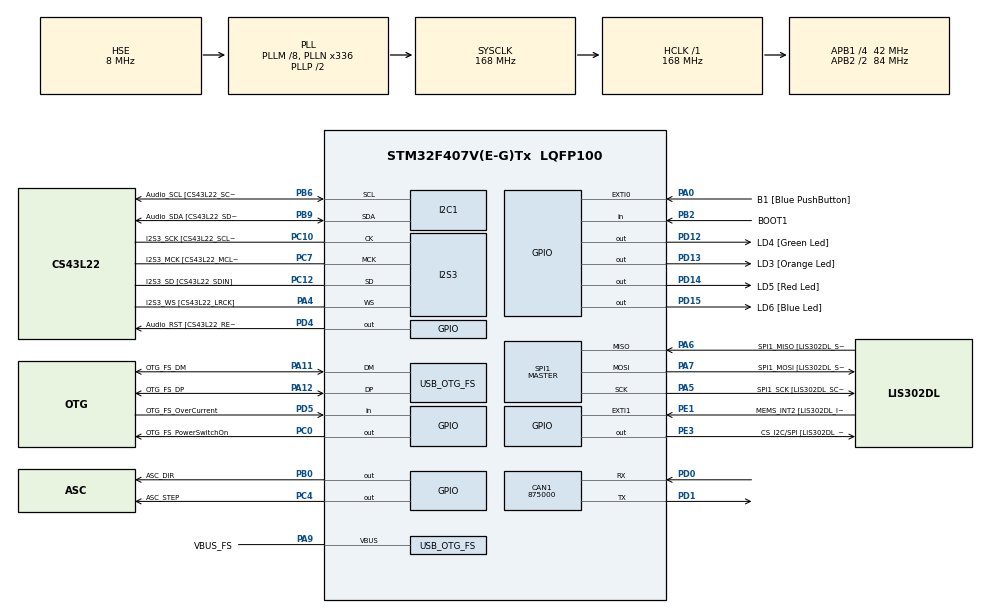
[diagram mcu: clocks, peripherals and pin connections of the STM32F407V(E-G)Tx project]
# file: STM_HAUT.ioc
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CAN1.CalculateBaudRate=875000
CAN1.CalculateTimeBit=1142
CAN1.CalculateTimeQuantum=380.95238095238096
I2S3.AudioFreq-Half_Duplex_Master=I2S_AUDIOFREQ_96K
I2S3.ErrorAudioFreq=-2.34 %
I2S3.ErrorAudioFreq-Half_Duplex_Master=0.8 %
I2S3.FullDuplexMode=I2S_FULLDUPLEXMODE_DISABLE
I2S3.Instance=SPI$Index
I2S3.RealAudioFreq=93.75 KHz
I2S3.RealAudioFreq-Half_Duplex_Master=96.774 KHz
I2S3.VirtualMode=I2S_MODE_MASTER
Mcu.Family=STM32F4
Mcu.Name=STM32F407V(E-G)Tx
Mcu.Package=LQFP100
NVIC.OTG_FS_IRQn=true\:0\:0\:false\:false\:true\:true\:true\:true
NVIC.PriorityGroup=NVIC_PRIORITYGROUP_0
PA0-WKUP.GPIO_Label=B1 [Blue PushButton]
PA0-WKUP.GPIO_ModeDefaultEXTI=GPIO_MODE_EVT_RISING
PA0-WKUP.GPIO_PuPd=GPIO_NOPULL
PA0-WKUP.Signal=GPXTI0
PA10.GPIO_Label=OTG_FS_ID
PA10.GPIO_Mode=GPIO_MODE_AF_PP
PA10.GPIO_PuPd=GPIO_NOPULL
PA10.GPIO_Speed=GPIO_SPEED_FREQ_LOW
PA10.Signal=USB_OTG_FS_ID
PA11.GPIO_Label=OTG_FS_DM
PA11.GPIO_Mode=GPIO_MODE_AF_PP
PA11.GPIO_PuPd=GPIO_NOPULL
PA11.GPIO_Speed=GPIO_SPEED_FREQ_LOW
PA11.Mode=Host_Only
PA11.Signal=USB_OTG_FS_DM
PA12.GPIO_Label=OTG_FS_DP
PA12.GPIO_Mode=GPIO_MODE_AF_PP
PA12.GPIO_PuPd=GPIO_NOPULL
PA12.GPIO_Speed=GPIO_SPEED_FREQ_LOW
PA12.Mode=Host_Only
PA12.Signal=USB_OTG_FS_DP
PA13.GPIO_Label=SWDIO
PA13.Mode=Serial_Wire
PA13.Signal=SYS_JTMS-SWDIO
PA14.GPIO_Label=SWCLK
PA14.Mode=Serial_Wire
PA14.Signal=SYS_JTCK-SWCLK
PA4.GPIO_Label=I2S3_WS [CS43L22_LRCK]
PA4.GPIO_Mode=GPIO_MODE_AF_PP
PA4.GPIO_PuPd=GPIO_NOPULL
PA4.GPIO_Speed=GPIO_SPEED_FREQ_LOW
PA4.Mode=Half_Duplex_Master
PA4.Signal=I2S3_WS
PA5.GPIO_Label=SPI1_SCK [LIS302DL_SCL/SPC]
PA5.GPIO_Mode=GPIO_MODE_AF_PP
PA5.GPIO_PuPd=GPIO_NOPULL
PA5.GPIO_Speed=GPIO_SPEED_FREQ_LOW
PA5.Mode=Full_Duplex_Master
PA5.Signal=SPI1_SCK
PA6.GPIO_Label=SPI1_MISO [LIS302DL_SDO]
PA6.GPIO_Mode=GPIO_MODE_AF_PP
PA6.GPIO_PuPd=GPIO_NOPULL
PA6.GPIO_Speed=GPIO_SPEED_FREQ_LOW
PA6.Mode=Full_Duplex_Master
PA6.Signal=SPI1_MISO
PA7.GPIO_Label=SPI1_MOSI [LIS302DL_SDA/SDI/SDO]
PA7.GPIO_Mode=GPIO_MODE_AF_PP
PA7.GPIO_PuPd=GPIO_NOPULL
PA7.GPIO_Speed=GPIO_SPEED_FREQ_LOW
PA7.Mode=Full_Duplex_Master
PA7.Signal=SPI1_MOSI
PA9.GPIO_Label=VBUS_FS
PA9.GPIO_Mode=GPIO_MODE_INPUT
PA9.GPIO_PuPd=GPIO_NOPULL
PA9.Mode=Activate_VBUS
PA9.Signal=USB_OTG_FS_VBUS
PB0.GPIO_Label=ASC_DIR
PB0.Signal=GPIO_Output
PB10.GPIO_Label=CLK_IN [MP45DT02_CLK]
PB10.GPIO_Mode=GPIO_MODE_AF_PP
PB10.GPIO_PuPd=GPIO_NOPULL
PB10.GPIO_Speed=GPIO_SPEED_FREQ_LOW
PB10.Signal=I2S2_CK
PB2.GPIO_Label=BOOT1
PB2.GPIO_Mode=GPIO_MODE_INPUT
PB2.GPIO_PuPd=GPIO_NOPULL
PB2.Signal=GPIO_Input
PB3.GPIO_Label=SWO
PB3.Signal=SYS_JTDO-SWO
PB6.GPIO_Label=Audio_SCL [CS43L22_SCL]
PB6.GPIO_Mode=GPIO_MODE_AF_OD
PB6.GPIO_Pu=GPIO_PULLUP
PB6.GPIO_PuPd=GPIO_NOPULL
PB6.GPIO_Speed=GPIO_SPEED_FREQ_LOW
PB6.Mode=I2C
PB6.Signal=I2C1_SCL
PB9.GPIO_Label=Audio_SDA [CS43L22_SDA]
PB9.GPIO_Mode=GPIO_MODE_AF_OD
PB9.GPIO_Pu=GPIO_PULLUP
PB9.GPIO_PuPd=GPIO_NOPULL
PB9.GPIO_Speed=GPIO_SPEED_FREQ_LOW
PB9.Mode=I2C
PB9.Signal=I2C1_SDA
PC0.GPIO_Label=OTG_FS_PowerSwitchOn
PC0.GPIO_PuPd=GPIO_NOPULL
PC0.GPIO_Speed=GPIO_SPEED_FREQ_LOW
PC0.PinState=GPIO_PIN_SET
PC0.Signal=GPIO_Output
PC10.GPIO_Label=I2S3_SCK [CS43L22_SCLK]
PC10.GPIO_Mode=GPIO_MODE_AF_PP
PC10.GPIO_PuPd=GPIO_NOPULL
PC10.GPIO_Speed=GPIO_SPEED_FREQ_LOW
PC10.Mode=Half_Duplex_Master
PC10.Signal=I2S3_CK
PC12.GPIO_Label=I2S3_SD [CS43L22_SDIN]
PC12.GPIO_Mode=GPIO_MODE_AF_PP
PC12.GPIO_PuPd=GPIO_NOPULL
PC12.GPIO_Speed=GPIO_SPEED_FREQ_LOW
PC12.Mode=Half_Duplex_Master
PC12.Signal=I2S3_SD
PC14-OSC32_IN.GPIO_Label=PC14-OSC32_IN
PC14-OSC32_IN.Mode=LSE-External-Oscillator
PC14-OSC32_IN.Signal=RCC_OSC32_IN
PC15-OSC32_OUT.GPIO_Label=PC15-OSC32_OUT
PC15-OSC32_OUT.Mode=LSE-External-Oscillator
PC15-OSC32_OUT.Signal=RCC_OSC32_OUT
PC3.GPIO_Label=PDM_OUT [MP45DT02_DOUT]
PC3.GPIO_Mode=GPIO_MODE_AF_PP
PC3.GPIO_PuPd=GPIO_NOPULL
PC3.GPIO_Speed=GPIO_SPEED_FREQ_LOW
PC3.Signal=I2S2_SD
PC4.GPIO_Label=ASC_STEP
PC4.Signal=GPIO_Output
PC7.GPIO_Label=I2S3_MCK [CS43L22_MCLK]
PC7.GPIO_Mode=GPIO_MODE_AF_PP
PC7.GPIO_PuPd=GPIO_NOPULL
PC7.GPIO_Speed=GPIO_SPEED_FREQ_LOW
PC7.Mode=Master_Clock_Activated
PC7.Signal=I2S3_MCK
PD0.Mode=CAN_Activate
PD0.Signal=CAN1_RX
PD1.Mode=CAN_Activate
PD1.Signal=CAN1_TX
PD12.GPIO_Label=LD4 [Green Led]
PD12.GPIO_PuPd=GPIO_NOPULL
PD12.GPIO_Speed=GPIO_SPEED_FREQ_LOW
PD12.Signal=GPIO_Output
PD13.GPIO_Label=LD3 [Orange Led]
PD13.GPIO_PuPd=GPIO_NOPULL
PD13.GPIO_Speed=GPIO_SPEED_FREQ_LOW
PD13.Signal=GPIO_Output
PD14.GPIO_Label=LD5 [Red Led]
PD14.GPIO_PuPd=GPIO_NOPULL
PD14.GPIO_Speed=GPIO_SPEED_FREQ_LOW
PD14.Signal=GPIO_Output
PD15.GPIO_Label=LD6 [Blue Led]
PD15.GPIO_PuPd=GPIO_NOPULL
PD15.GPIO_Speed=GPIO_SPEED_FREQ_LOW
PD15.Signal=GPIO_Output
PD4.GPIO_Label=Audio_RST [CS43L22_RESET]
PD4.GPIO_PuPd=GPIO_NOPULL
PD4.GPIO_Speed=GPIO_SPEED_FREQ_LOW
PD4.Signal=GPIO_Output
PD5.GPIO_Label=OTG_FS_OverCurrent
PD5.GPIO_Mode=GPIO_MODE_INPUT
PD5.GPIO_PuPd=GPIO_NOPULL
PD5.Signal=GPIO_Input
PE1.GPIO_Label=MEMS_INT2 [LIS302DL_INT2]
PE1.GPIO_ModeDefaultEXTI=GPIO_MODE_EVT_RISING
PE1.GPIO_PuPd=GPIO_NOPULL
PE1.Signal=GPXTI1
PE3.GPIO_Label=CS_I2C/SPI [LIS302DL_CS_I2C/SPI]
PE3.GPIO_PuPd=GPIO_NOPULL
PE3.GPIO_Speed=GPIO_SPEED_FREQ_LOW
PE3.Signal=GPIO_Output
PH0-OSC_IN.GPIO_Label=PH0-OSC_IN
PH0-OSC_IN.Mode=HSE-External-Oscillator
PH0-OSC_IN.Signal=RCC_OSC_IN
PH1-OSC_OUT.GPIO_Label=PH1-OSC_OUT
PH1-OSC_OUT.Mode=HSE-External-Oscillator
PH1-OSC_OUT.Signal=RCC_OSC_OUT
ProjectManager.HeapSize=0x200
ProjectManager.StackSize=0x400
ProjectManager.TargetToolchain=STM32CubeIDE
RCC.48MHZClocksFreq_Value=48000000
RCC.AHBFreq_Value=168000000
RCC.APB1CLKDivider=RCC_HCLK_DIV4
RCC.APB1Freq_Value=42000000
RCC.APB1TimFreq_Value=84000000
RCC.APB2CLKDivider=RCC_HCLK_DIV2
RCC.APB2Freq_Value=84000000
RCC.APB2TimFreq_Value=168000000
RCC.CortexFreq_Value=168000000
RCC.HCLKFreq_Value=168000000
RCC.HSE_VALUE=8000000
RCC.HSI_VALUE=16000000
RCC.PLLM=8
RCC.PLLN=336
RCC.PLLQ=7
RCC.SYSCLKFreq_VALUE=168000000
RCC.SYSCLKSource=RCC_SYSCLKSOURCE_PLLCLK
RCC.VCOOutputFreq_Value=336000000
SPI1.BaudRatePrescaler-Full_Duplex_Master=SPI_BAUDRATEPRESCALER_2
SPI1.CalculateBaudRate-Full_Duplex_Master=42.0 MBits/s
SPI1.Direction=SPI_DIRECTION_2LINES
SPI1.Mode=SPI_MODE_MASTER
SPI1.Mode-Full_Duplex_Master=SPI_MODE_MASTER
SPI1.VirtualType=VM_MASTER
USB_HOST.BSP.number=1
USB_HOST.USBH_HandleTypeDef-CDC_FS=hUsbHostFS
USB_HOST.VirtualModeFS=Cdc
USB_HOST0.BSP.STBoard=false
USB_HOST0.BSP.api=Unknown
USB_HOST0.BSP.instance=PC0
USB_HOST0.BSP.ip=GPIO
USB_HOST0.BSP.mode=Output
USB_HOST0.BSP.name=Drive_VBUS_FS
USB_HOST0.BSP.solution=PC0
USB_OTG_FS.VirtualMode=Host_Only
USB_OTG_FS.phy_itface=HCD_PHY_EMBEDDED
VP_USB_HOST_VS_USB_HOST_CDC_FS.Mode=CDC_FS
board=STM32F407G-DISC1

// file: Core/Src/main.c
/* USER CODE BEGIN Header */
/**
  ******************************************************************************
  * @file           : main.c
  * @brief          : Main program body
  ******************************************************************************
  * @attention
  *
  * Copyright (c) 2026 STMicroelectronics.
  * All rights reserved.
  *
  * This software is licensed under terms that can be found in the LICENSE file
  * in the root directory of this software component.
  * If no LICENSE file comes with this software, it is provided AS-IS.
  *
  ******************************************************************************
  */
/* USER CODE END Header */
#include "main.h"
#include "usb_host.h"
#include "Moteur_Step.h"
#include "Module_ROT.h"
#include "Types_Communs.h"

CAN_HandleTypeDef hcan1;

I2C_HandleTypeDef hi2c1;

I2S_HandleTypeDef hi2s3;

SPI_HandleTypeDef hspi1;

void SystemClock_Config(void);
static void MX_GPIO_Init(void);
static void MX_I2C1_Init(void);
static void MX_I2S3_Init(void);
static void MX_SPI1_Init(void);
static void MX_CAN1_Init(void);
void MX_USB_HOST_Process(void);

int main(void)
{

  /* MCU Configuration--------------------------------------------------------*/

  /* Reset of all peripherals, Initializes the Flash interface and the Systick. */
  HAL_Init();

  /* Configure the system clock */
  SystemClock_Config();

  /* Initialize all configured peripherals */
  MX_GPIO_Init();
  MX_I2C1_Init();
  MX_I2S3_Init();
  MX_SPI1_Init();
  MX_USB_HOST_Init();
  MX_CAN1_Init();
  /* USER CODE BEGIN 2 */
  uint32_t button_timer = 0;

  GPIO_PinState button_state = GPIO_PIN_RESET;
  GPIO_PinState button_last_read = GPIO_PIN_RESET;
  uint8_t PositionActuelle = 0;
  int test_bouton = 0;
  /* USER CODE END 2 */

  /* Infinite loop */
  /* USER CODE BEGIN WHILE */
  while (1)
  {
	  // Update stepper motors
	      Stepper_Update();

	      // Read PA0
	      GPIO_PinState button_read =
	          HAL_GPIO_ReadPin(GPIOA, GPIO_PIN_0);

	      // Detect a change in button state
	      if(button_read != button_last_read)
	      {
	          button_timer = HAL_GetTick();
	          button_last_read = button_read;
	      }

	      // Debounce (50 ms)
	      if((HAL_GetTick() - button_timer) >= 50)
	      {
	          if(button_read != button_state)
	          {
	              button_state = button_read;

	              // Button pressed
	              if(button_state == GPIO_PIN_SET)
	              {
	            	  if (!Stepper_IsBusy(Moteur_ROT))
	            	  {
	            	      if (PositionActuelle == 0)
	            	      {
	            	          Rotation_DeplacerVers(2, &PositionActuelle);
	            	      }
	            	      else
	            	      {
	            	          Rotation_DeplacerVers(0, &PositionActuelle);
	            	      }
	            	  }
	              }
	          }
	      }
    /* USER CODE END WHILE */
    MX_USB_HOST_Process();

  }
}

void SystemClock_Config(void)
{
  RCC_OscInitTypeDef RCC_OscInitStruct = {0};
  RCC_ClkInitTypeDef RCC_ClkInitStruct = {0};

  /** Configure the main internal regulator output voltage
  */
  __HAL_RCC_PWR_CLK_ENABLE();
  __HAL_PWR_VOLTAGESCALING_CONFIG(PWR_REGULATOR_VOLTAGE_SCALE1);

  /** Initializes the RCC Oscillators according to the specified parameters
  * in the RCC_OscInitTypeDef structure.
  */
  RCC_OscInitStruct.OscillatorType = RCC_OSCILLATORTYPE_HSE;
  RCC_OscInitStruct.HSEState = RCC_HSE_ON;
  RCC_OscInitStruct.PLL.PLLState = RCC_PLL_ON;
  RCC_OscInitStruct.PLL.PLLSource = RCC_PLLSOURCE_HSE;
  RCC_OscInitStruct.PLL.PLLM = 8;
  RCC_OscInitStruct.PLL.PLLN = 336;
  RCC_OscInitStruct.PLL.PLLP = RCC_PLLP_DIV2;
  RCC_OscInitStruct.PLL.PLLQ = 7;
  if (HAL_RCC_OscConfig(&RCC_OscInitStruct) != HAL_OK)
  {
    Error_Handler();
  }

  /** Initializes the CPU, AHB and APB buses clocks
  */
  RCC_ClkInitStruct.ClockType = RCC_CLOCKTYPE_HCLK|RCC_CLOCKTYPE_SYSCLK
                              |RCC_CLOCKTYPE_PCLK1|RCC_CLOCKTYPE_PCLK2;
  RCC_ClkInitStruct.SYSCLKSource = RCC_SYSCLKSOURCE_PLLCLK;
  RCC_ClkInitStruct.AHBCLKDivider = RCC_SYSCLK_DIV1;
  RCC_ClkInitStruct.APB1CLKDivider = RCC_HCLK_DIV4;
  RCC_ClkInitStruct.APB2CLKDivider = RCC_HCLK_DIV2;

  if (HAL_RCC_ClockConfig(&RCC_ClkInitStruct, FLASH_LATENCY_5) != HAL_OK)
  {
    Error_Handler();
  }
}

static void MX_CAN1_Init(void)
{

  hcan1.Instance = CAN1;
  hcan1.Init.Prescaler = 16;
  hcan1.Init.Mode = CAN_MODE_NORMAL;
  hcan1.Init.SyncJumpWidth = CAN_SJW_1TQ;
  hcan1.Init.TimeSeg1 = CAN_BS1_1TQ;
  hcan1.Init.TimeSeg2 = CAN_BS2_1TQ;
  hcan1.Init.TimeTriggeredMode = DISABLE;
  hcan1.Init.AutoBusOff = DISABLE;
  hcan1.Init.AutoWakeUp = DISABLE;
  hcan1.Init.AutoRetransmission = DISABLE;
  hcan1.Init.ReceiveFifoLocked = DISABLE;
  hcan1.Init.TransmitFifoPriority = DISABLE;
  if (HAL_CAN_Init(&hcan1) != HAL_OK)
  {
    Error_Handler();
  }

}

static void MX_I2C1_Init(void)
{

  hi2c1.Instance = I2C1;
  hi2c1.Init.ClockSpeed = 100000;
  hi2c1.Init.DutyCycle = I2C_DUTYCYCLE_2;
  hi2c1.Init.OwnAddress1 = 0;
  hi2c1.Init.AddressingMode = I2C_ADDRESSINGMODE_7BIT;
  hi2c1.Init.DualAddressMode = I2C_DUALADDRESS_DISABLE;
  hi2c1.Init.OwnAddress2 = 0;
  hi2c1.Init.GeneralCallMode = I2C_GENERALCALL_DISABLE;
  hi2c1.Init.NoStretchMode = I2C_NOSTRETCH_DISABLE;
  if (HAL_I2C_Init(&hi2c1) != HAL_OK)
  {
    Error_Handler();
  }

}

static void MX_I2S3_Init(void)
{

  hi2s3.Instance = SPI3;
  hi2s3.Init.Mode = I2S_MODE_MASTER_TX;
  hi2s3.Init.Standard = I2S_STANDARD_PHILIPS;
  hi2s3.Init.DataFormat = I2S_DATAFORMAT_16B;
  hi2s3.Init.MCLKOutput = I2S_MCLKOUTPUT_ENABLE;
  hi2s3.Init.AudioFreq = I2S_AUDIOFREQ_96K;
  hi2s3.Init.CPOL = I2S_CPOL_LOW;
  hi2s3.Init.ClockSource = I2S_CLOCK_PLL;
  hi2s3.Init.FullDuplexMode = I2S_FULLDUPLEXMODE_DISABLE;
  if (HAL_I2S_Init(&hi2s3) != HAL_OK)
  {
    Error_Handler();
  }

}

static void MX_SPI1_Init(void)
{

  /* SPI1 parameter configuration*/
  hspi1.Instance = SPI1;
  hspi1.Init.Mode = SPI_MODE_MASTER;
  hspi1.Init.Direction = SPI_DIRECTION_2LINES;
  hspi1.Init.DataSize = SPI_DATASIZE_8BIT;
  hspi1.Init.CLKPolarity = SPI_POLARITY_LOW;
  hspi1.Init.CLKPhase = SPI_PHASE_1EDGE;
  hspi1.Init.NSS = SPI_NSS_SOFT;
  hspi1.Init.BaudRatePrescaler = SPI_BAUDRATEPRESCALER_2;
  hspi1.Init.FirstBit = SPI_FIRSTBIT_MSB;
  hspi1.Init.TIMode = SPI_TIMODE_DISABLE;
  hspi1.Init.CRCCalculation = SPI_CRCCALCULATION_DISABLE;
  hspi1.Init.CRCPolynomial = 10;
  if (HAL_SPI_Init(&hspi1) != HAL_OK)
  {
    Error_Handler();
  }

}

static void MX_GPIO_Init(void)
{
  GPIO_InitTypeDef GPIO_InitStruct = {0};

  /* GPIO Ports Clock Enable */
  __HAL_RCC_GPIOE_CLK_ENABLE();
  __HAL_RCC_GPIOC_CLK_ENABLE();
  __HAL_RCC_GPIOH_CLK_ENABLE();
  __HAL_RCC_GPIOA_CLK_ENABLE();
  __HAL_RCC_GPIOB_CLK_ENABLE();
  __HAL_RCC_GPIOD_CLK_ENABLE();

  /*Configure GPIO pin Output Level */
  HAL_GPIO_WritePin(CS_I2C_SPI_GPIO_Port, CS_I2C_SPI_Pin, GPIO_PIN_RESET);

  /*Configure GPIO pin Output Level */
  HAL_GPIO_WritePin(OTG_FS_PowerSwitchOn_GPIO_Port, OTG_FS_PowerSwitchOn_Pin, GPIO_PIN_SET);

  /*Configure GPIO pin Output Level */
  HAL_GPIO_WritePin(ASC_STEP_GPIO_Port, ASC_STEP_Pin, GPIO_PIN_RESET);

  /*Configure GPIO pin Output Level */
  HAL_GPIO_WritePin(ASC_DIR_GPIO_Port, ASC_DIR_Pin, GPIO_PIN_RESET);

  /*Configure GPIO pin Output Level */
  HAL_GPIO_WritePin(GPIOD, LD4_Pin|LD3_Pin|LD5_Pin|LD6_Pin
                          |Audio_RST_Pin, GPIO_PIN_RESET);

  /*Configure GPIO pin : CS_I2C_SPI_Pin */
  GPIO_InitStruct.Pin = CS_I2C_SPI_Pin;
  GPIO_InitStruct.Mode = GPIO_MODE_OUTPUT_PP;
  GPIO_InitStruct.Pull = GPIO_NOPULL;
  GPIO_InitStruct.Speed = GPIO_SPEED_FREQ_LOW;
  HAL_GPIO_Init(CS_I2C_SPI_GPIO_Port, &GPIO_InitStruct);

  /*Configure GPIO pins : OTG_FS_PowerSwitchOn_Pin ASC_STEP_Pin */
  GPIO_InitStruct.Pin = OTG_FS_PowerSwitchOn_Pin|ASC_STEP_Pin;
  GPIO_InitStruct.Mode = GPIO_MODE_OUTPUT_PP;
  GPIO_InitStruct.Pull = GPIO_NOPULL;
  GPIO_InitStruct.Speed = GPIO_SPEED_FREQ_LOW;
  HAL_GPIO_Init(GPIOC, &GPIO_InitStruct);

  /*Configure GPIO pin : PDM_OUT_Pin */
  GPIO_InitStruct.Pin = PDM_OUT_Pin;
  GPIO_InitStruct.Mode = GPIO_MODE_AF_PP;
  GPIO_InitStruct.Pull = GPIO_NOPULL;
  GPIO_InitStruct.Speed = GPIO_SPEED_FREQ_LOW;
  GPIO_InitStruct.Alternate = GPIO_AF5_SPI2;
  HAL_GPIO_Init(PDM_OUT_GPIO_Port, &GPIO_InitStruct);

  /*Configure GPIO pin : B1_Pin */
  GPIO_InitStruct.Pin = B1_Pin;
  GPIO_InitStruct.Mode = GPIO_MODE_EVT_RISING;
  GPIO_InitStruct.Pull = GPIO_NOPULL;
  HAL_GPIO_Init(B1_GPIO_Port, &GPIO_InitStruct);

  /*Configure GPIO pin : ASC_DIR_Pin */
  GPIO_InitStruct.Pin = ASC_DIR_Pin;
  GPIO_InitStruct.Mode = GPIO_MODE_OUTPUT_PP;
  GPIO_InitStruct.Pull = GPIO_NOPULL;
  GPIO_InitStruct.Speed = GPIO_SPEED_FREQ_LOW;
  HAL_GPIO_Init(ASC_DIR_GPIO_Port, &GPIO_InitStruct);

  /*Configure GPIO pin : BOOT1_Pin */
  GPIO_InitStruct.Pin = BOOT1_Pin;
  GPIO_InitStruct.Mode = GPIO_MODE_INPUT;
  GPIO_InitStruct.Pull = GPIO_NOPULL;
  HAL_GPIO_Init(BOOT1_GPIO_Port, &GPIO_InitStruct);

  /*Configure GPIO pin : CLK_IN_Pin */
  GPIO_InitStruct.Pin = CLK_IN_Pin;
  GPIO_InitStruct.Mode = GPIO_MODE_AF_PP;
  GPIO_InitStruct.Pull = GPIO_NOPULL;
  GPIO_InitStruct.Speed = GPIO_SPEED_FREQ_LOW;
  GPIO_InitStruct.Alternate = GPIO_AF5_SPI2;
  HAL_GPIO_Init(CLK_IN_GPIO_Port, &GPIO_InitStruct);

  /*Configure GPIO pins : LD4_Pin LD3_Pin LD5_Pin LD6_Pin
                           Audio_RST_Pin */
  GPIO_InitStruct.Pin = LD4_Pin|LD3_Pin|LD5_Pin|LD6_Pin
                          |Audio_RST_Pin;
  GPIO_InitStruct.Mode = GPIO_MODE_OUTPUT_PP;
  GPIO_InitStruct.Pull = GPIO_NOPULL;
  GPIO_InitStruct.Speed = GPIO_SPEED_FREQ_LOW;
  HAL_GPIO_Init(GPIOD, &GPIO_InitStruct);

  /*Configure GPIO pin : OTG_FS_OverCurrent_Pin */
  GPIO_InitStruct.Pin = OTG_FS_OverCurrent_Pin;
  GPIO_InitStruct.Mode = GPIO_MODE_INPUT;
  GPIO_InitStruct.Pull = GPIO_NOPULL;
  HAL_GPIO_Init(OTG_FS_OverCurrent_GPIO_Port, &GPIO_InitStruct);

  /*Configure GPIO pin : MEMS_INT2_Pin */
  GPIO_InitStruct.Pin = MEMS_INT2_Pin;
  GPIO_InitStruct.Mode = GPIO_MODE_EVT_RISING;
  GPIO_InitStruct.Pull = GPIO_NOPULL;
  HAL_GPIO_Init(MEMS_INT2_GPIO_Port, &GPIO_InitStruct);

}

void Error_Handler(void)
{
  __disable_irq();
  while (1)
  {
  }
}
